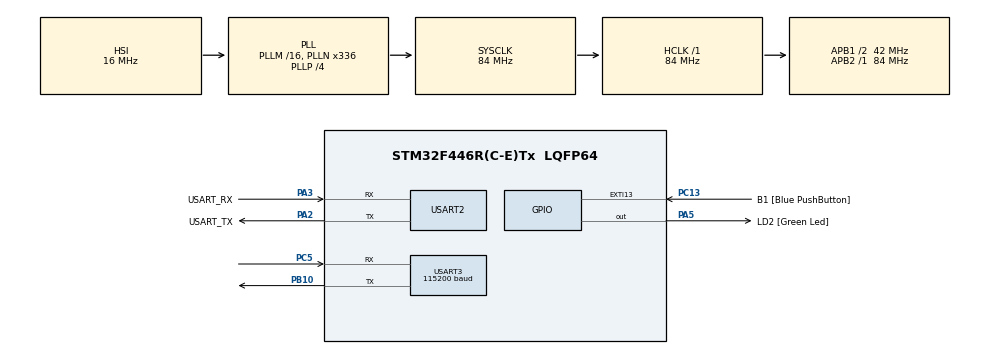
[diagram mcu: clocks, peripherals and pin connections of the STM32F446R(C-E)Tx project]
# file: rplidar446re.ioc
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Mcu.Family=STM32F4
Mcu.Name=STM32F446R(C-E)Tx
Mcu.Package=LQFP64
NVIC.PriorityGroup=NVIC_PRIORITYGROUP_0
PA13.GPIO_Label=TMS
PA13.Mode=Serial_Wire
PA13.Signal=SYS_JTMS-SWDIO
PA14.GPIO_Label=TCK
PA14.Mode=Serial_Wire
PA14.Signal=SYS_JTCK-SWCLK
PA2.GPIO_Label=USART_TX
PA2.Mode=Asynchronous
PA2.Signal=USART2_TX
PA3.GPIO_Label=USART_RX
PA3.Mode=Asynchronous
PA3.Signal=USART2_RX
PA5.GPIO_Label=LD2 [Green Led]
PA5.Signal=GPIO_Output
PB10.Mode=Asynchronous
PB10.Signal=USART3_TX
PB3.GPIO_Label=SWO
PB3.Signal=SYS_JTDO-SWO
PC13.GPIO_Label=B1 [Blue PushButton]
PC13.GPIO_ModeDefaultEXTI=GPIO_MODE_IT_FALLING
PC13.Signal=GPXTI13
PC14-OSC32_IN.Mode=LSE-External-Oscillator
PC14-OSC32_IN.Signal=RCC_OSC32_IN
PC15-OSC32_OUT.Mode=LSE-External-Oscillator
PC15-OSC32_OUT.Signal=RCC_OSC32_OUT
PC5.Mode=Asynchronous
PC5.Signal=USART3_RX
PH0-OSC_IN.Mode=HSE-External-Oscillator
PH0-OSC_IN.Signal=RCC_OSC_IN
PH1-OSC_OUT.Mode=HSE-External-Oscillator
PH1-OSC_OUT.Signal=RCC_OSC_OUT
ProjectManager.HeapSize=0x200
ProjectManager.StackSize=0x400
ProjectManager.TargetToolchain=STM32CubeIDE
RCC.48MHZClocksFreq_Value=84000000
RCC.AHBFreq_Value=84000000
RCC.APB1CLKDivider=RCC_HCLK_DIV2
RCC.APB1Freq_Value=42000000
RCC.APB1TimFreq_Value=84000000
RCC.APB2Freq_Value=84000000
RCC.APB2TimFreq_Value=84000000
RCC.CortexFreq_Value=84000000
RCC.FLatency-AdvancedSettings=FLASH_LATENCY_2
RCC.HCLKFreq_Value=84000000
RCC.HSE_VALUE=8000000
RCC.HSI_VALUE=16000000
RCC.PLLN=336
RCC.PLLP=RCC_PLLP_DIV4
RCC.SYSCLKFreq_VALUE=84000000
RCC.SYSCLKSource=RCC_SYSCLKSOURCE_PLLCLK
RCC.USBFreq_Value=168000000
RCC.VCOOutputFreq_Value=336000000
USART2.VirtualMode=VM_ASYNC
USART3.BaudRate=115200
USART3.VirtualMode=VM_ASYNC
board=NUCLEO-F446RE

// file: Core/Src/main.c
/* USER CODE BEGIN Header */
/**
  ******************************************************************************
  * @file           : main.c
  * @brief          : Main program body
  ******************************************************************************
  * @attention
  *
  * <h2><center>&copy; Copyright (c) 2022 STMicroelectronics.
  * All rights reserved.</center></h2>
  *
  * This software component is licensed by ST under BSD 3-Clause license,
  * the "License"; You may not use this file except in compliance with the
  * License. You may obtain a copy of the License at:
  *                        opensource.org/licenses/BSD-3-Clause
  *
  ******************************************************************************
  */
/* USER CODE END Header */
#include "main.h"

/* USER CODE BEGIN Includes */
#include "mobirec_rplidar.h"
/* USER CODE END Includes */

UART_HandleTypeDef huart2;
UART_HandleTypeDef huart3;

/* USER CODE BEGIN PV */

mobirec_lidar_StatusTypeDef s;
mobirec_lidar_HandleTypeDef lidar;

/* USER CODE END PV */

void SystemClock_Config(void);
static void MX_GPIO_Init(void);
static void MX_USART2_UART_Init(void);
static void MX_USART3_UART_Init(void);

int main(void)
{
  /* USER CODE BEGIN 1 */
lidar.huart = &huart3;
  /* USER CODE END 1 */

  /* MCU Configuration--------------------------------------------------------*/

  /* Reset of all peripherals, Initializes the Flash interface and the Systick. */
  HAL_Init();

  /* Configure the system clock */
  SystemClock_Config();

  /* Initialize all configured peripherals */
  MX_GPIO_Init();
  MX_USART2_UART_Init();
  MX_USART3_UART_Init();

  /* Infinite loop */
  /* USER CODE BEGIN WHILE */

  while(1){

	  s =lidar_start_scan(&lidar); // Tell the RPLIDAR to start scanning
	  if(s==MOBI_OK){// Lidar is ready to send points
		  while(1){
			  s = lidar_get_point(&lidar); // get point
			  if(s==MOBI_OK){
				  /*... sample point got with success have fun ...*/
				  lidar.angle;
				  lidar.distance;
				  lidar.quality;
				  lidar.start_scan_flag;

				  if(lidar.start_scan_flag){
					  HAL_GPIO_WritePin(LD2_GPIO_Port, LD2_Pin, 1);
				  }else{
					  HAL_GPIO_WritePin(LD2_GPIO_Port, LD2_Pin, 0);
				  }

			  }
		  }
	  }

  }

    /* USER CODE END WHILE */

    /* USER CODE BEGIN 3 */\

  /* USER CODE END 3 */
}

void SystemClock_Config(void)
{
  RCC_OscInitTypeDef RCC_OscInitStruct = {0};
  RCC_ClkInitTypeDef RCC_ClkInitStruct = {0};

  /** Configure the main internal regulator output voltage
  */
  __HAL_RCC_PWR_CLK_ENABLE();
  __HAL_PWR_VOLTAGESCALING_CONFIG(PWR_REGULATOR_VOLTAGE_SCALE3);
  /** Initializes the RCC Oscillators according to the specified parameters
  * in the RCC_OscInitTypeDef structure.
  */
  RCC_OscInitStruct.OscillatorType = RCC_OSCILLATORTYPE_HSI;
  RCC_OscInitStruct.HSIState = RCC_HSI_ON;
  RCC_OscInitStruct.HSICalibrationValue = RCC_HSICALIBRATION_DEFAULT;
  RCC_OscInitStruct.PLL.PLLState = RCC_PLL_ON;
  RCC_OscInitStruct.PLL.PLLSource = RCC_PLLSOURCE_HSI;
  RCC_OscInitStruct.PLL.PLLM = 16;
  RCC_OscInitStruct.PLL.PLLN = 336;
  RCC_OscInitStruct.PLL.PLLP = RCC_PLLP_DIV4;
  RCC_OscInitStruct.PLL.PLLQ = 2;
  RCC_OscInitStruct.PLL.PLLR = 2;
  if (HAL_RCC_OscConfig(&RCC_OscInitStruct) != HAL_OK)
  {
    Error_Handler();
  }
  /** Initializes the CPU, AHB and APB buses clocks
  */
  RCC_ClkInitStruct.ClockType = RCC_CLOCKTYPE_HCLK|RCC_CLOCKTYPE_SYSCLK
                              |RCC_CLOCKTYPE_PCLK1|RCC_CLOCKTYPE_PCLK2;
  RCC_ClkInitStruct.SYSCLKSource = RCC_SYSCLKSOURCE_PLLCLK;
  RCC_ClkInitStruct.AHBCLKDivider = RCC_SYSCLK_DIV1;
  RCC_ClkInitStruct.APB1CLKDivider = RCC_HCLK_DIV2;
  RCC_ClkInitStruct.APB2CLKDivider = RCC_HCLK_DIV1;

  if (HAL_RCC_ClockConfig(&RCC_ClkInitStruct, FLASH_LATENCY_2) != HAL_OK)
  {
    Error_Handler();
  }
}

static void MX_USART2_UART_Init(void)
{

  huart2.Instance = USART2;
  huart2.Init.BaudRate = 115200;
  huart2.Init.WordLength = UART_WORDLENGTH_8B;
  huart2.Init.StopBits = UART_STOPBITS_1;
  huart2.Init.Parity = UART_PARITY_NONE;
  huart2.Init.Mode = UART_MODE_TX_RX;
  huart2.Init.HwFlowCtl = UART_HWCONTROL_NONE;
  huart2.Init.OverSampling = UART_OVERSAMPLING_16;
  if (HAL_UART_Init(&huart2) != HAL_OK)
  {
    Error_Handler();
  }

}

static void MX_USART3_UART_Init(void)
{

  huart3.Instance = USART3;
  huart3.Init.BaudRate = 115200;
  huart3.Init.WordLength = UART_WORDLENGTH_8B;
  huart3.Init.StopBits = UART_STOPBITS_1;
  huart3.Init.Parity = UART_PARITY_NONE;
  huart3.Init.Mode = UART_MODE_TX_RX;
  huart3.Init.HwFlowCtl = UART_HWCONTROL_NONE;
  huart3.Init.OverSampling = UART_OVERSAMPLING_16;
  if (HAL_UART_Init(&huart3) != HAL_OK)
  {
    Error_Handler();
  }

}

static void MX_GPIO_Init(void)
{
  GPIO_InitTypeDef GPIO_InitStruct = {0};

  /* GPIO Ports Clock Enable */
  __HAL_RCC_GPIOC_CLK_ENABLE();
  __HAL_RCC_GPIOH_CLK_ENABLE();
  __HAL_RCC_GPIOA_CLK_ENABLE();
  __HAL_RCC_GPIOB_CLK_ENABLE();

  /*Configure GPIO pin Output Level */
  HAL_GPIO_WritePin(LD2_GPIO_Port, LD2_Pin, GPIO_PIN_RESET);

  /*Configure GPIO pin : B1_Pin */
  GPIO_InitStruct.Pin = B1_Pin;
  GPIO_InitStruct.Mode = GPIO_MODE_IT_FALLING;
  GPIO_InitStruct.Pull = GPIO_NOPULL;
  HAL_GPIO_Init(B1_GPIO_Port, &GPIO_InitStruct);

  /*Configure GPIO pin : LD2_Pin */
  GPIO_InitStruct.Pin = LD2_Pin;
  GPIO_InitStruct.Mode = GPIO_MODE_OUTPUT_PP;
  GPIO_InitStruct.Pull = GPIO_NOPULL;
  GPIO_InitStruct.Speed = GPIO_SPEED_FREQ_LOW;
  HAL_GPIO_Init(LD2_GPIO_Port, &GPIO_InitStruct);

}

void Error_Handler(void)
{
  __disable_irq();
  while (1)
  {
  }
}

/************************ (C) COPYRIGHT STMicroelectronics *****END OF FILE****/
